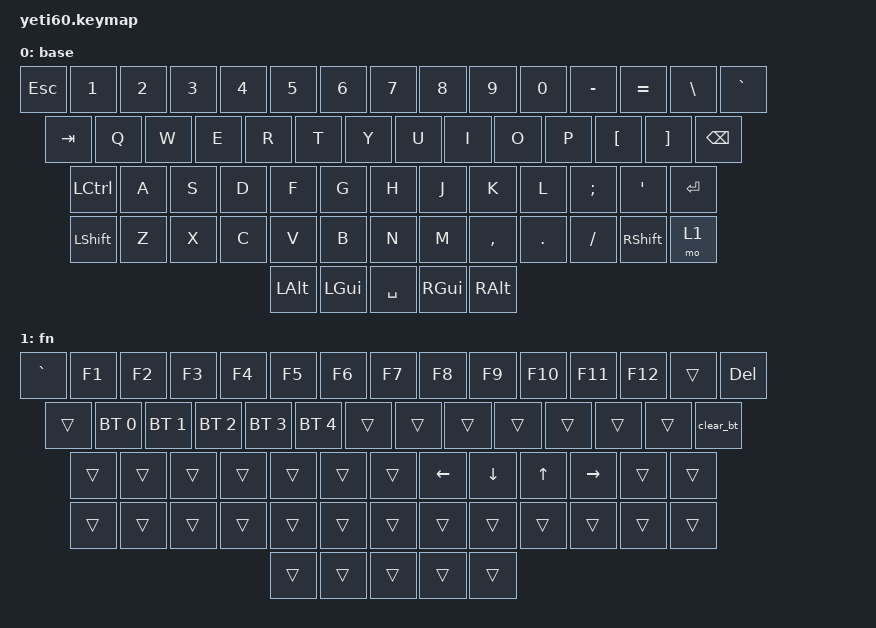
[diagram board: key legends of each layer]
#include <behaviors.dtsi>
#include <dt-bindings/zmk/keys.h>
#include <dt-bindings/zmk/bt.h>
/ {
    behaviors {
        clear_bt: clear_selected_bt {
            compatible = "zmk,behavior-tap-dance";
            #binding-cells = <0>;
            tapping-term-ms = <400>;
            bindings = <&none>, <&bt BT_CLR>;
        };
    };
    keymap {
        compatible = "zmk,keymap";
        base { bindings = <
            &kp ESC &kp N1 &kp N2 &kp N3 &kp N4 &kp N5 &kp N6 &kp N7 &kp N8 &kp N9 &kp N0 &kp MINUS &kp EQUAL &kp BSLH &kp GRAVE
            &kp TAB &kp Q &kp W &kp E &kp R &kp T &kp Y &kp U &kp I &kp O &kp P &kp LBKT &kp RBKT &kp BACKSPACE
            &kp LCTRL &kp A &kp S &kp D &kp F &kp G &kp H &kp J &kp K &kp L &kp SEMI &kp SQT &kp ENTER
            &kp LSHFT &kp Z &kp X &kp C &kp V &kp B &kp N &kp M &kp COMMA &kp DOT &kp FSLH &kp RSHFT &mo 1
            &kp LALT &kp LGUI &kp SPACE &kp RGUI &kp RALT
        >; };
        fn { bindings = <
            &kp GRAVE &kp F1 &kp F2 &kp F3 &kp F4 &kp F5 &kp F6 &kp F7 &kp F8 &kp F9 &kp F10 &kp F11 &kp F12 &trans &kp DELETE
            &trans &bt BT_SEL 0 &bt BT_SEL 1 &bt BT_SEL 2 &bt BT_SEL 3 &bt BT_SEL 4 &trans &trans &trans &trans &trans &trans &trans &clear_bt
            &trans &trans &trans &trans &trans &trans &trans &kp LEFT &kp DOWN &kp UP &kp RIGHT &trans &trans
            &trans &trans &trans &trans &trans &trans &trans &trans &trans &trans &trans &trans &trans
            &trans &trans &trans &trans &trans
        >; };
    };
};
